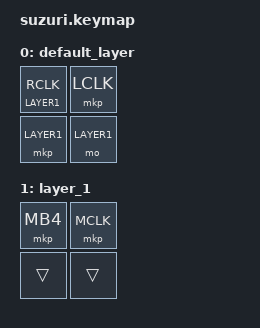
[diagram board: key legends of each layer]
#include <behaviors.dtsi>
#include <dt-bindings/zmk/keys.h>
#include <dt-bindings/zmk/bt.h>
#include <dt-bindings/zmk/mouse.h>

// レイヤーの定義
#define DEFAULT 0
#define LAYER1  1

/ {
    behaviors {
        rclk_layer: rclk_layer {
            compatible = "zmk,behavior-hold-tap";
            #binding-cells = <2>;
            flavor = "balanced";
            tapping-term-ms = <200>;  // 長押し判定までの時間
            bindings = <&mo>, <&mkp>;
        };
    };

    combos {
        compatible = "zmk,combos";
        combo_layer1 {
            timeout-ms = <50>;
            key-positions = <0 1>;  // RCLK(位置0)とLCLK(位置1)の同時押し
            bindings = <&mo LAYER1>;
        };
    };

    keymap {
        // キーマップの定義
        // 参考 https://zmk.dev/docs/keymaps
        compatible = "zmk,keymap";

        default_layer {
            bindings = <
                &rclk_layer LAYER1 RCLK    &mkp LCLK
                &mkp LAYER1    &mo LAYER1
            >;
        };

        layer_1 {
            bindings = <
                &mkp MB4     &mkp MCLK
                &trans       &trans
            >;
        };
    };
};

// トラックボールの設定
#include <input/processors.dtsi>
#include <dt-bindings/zmk/input_transform.h>

// pmw3610-driverの破壊的変更に対応: compatible文字列を更新
&trackball {
    compatible = "pixart,pmw3610-alt";
};

/ {
    trackball_listener {
        // Input Processor を使用して、トラックボールの入力を処理できます。
        // 参考 https://zmk.dev/docs/keymaps/input-processors
        compatible = "zmk,input-listener";
        device = <&trackball>;
        input-processors =
            <&zip_xy_transform (INPUT_TRANSFORM_Y_INVERT)>, // Y軸反転
            <&zip_xy_scaler 7 8>; // XY軸の移動量を0.875倍に調整（元の約1.3倍）

        scroller {
            layers = <1>;
            input-processors =
                <&zip_xy_to_scroll_mapper>,
                <&zip_scroll_scaler 1 40>; // スクロール速度を1/40に調整
            process-next;
        };
    };
};
